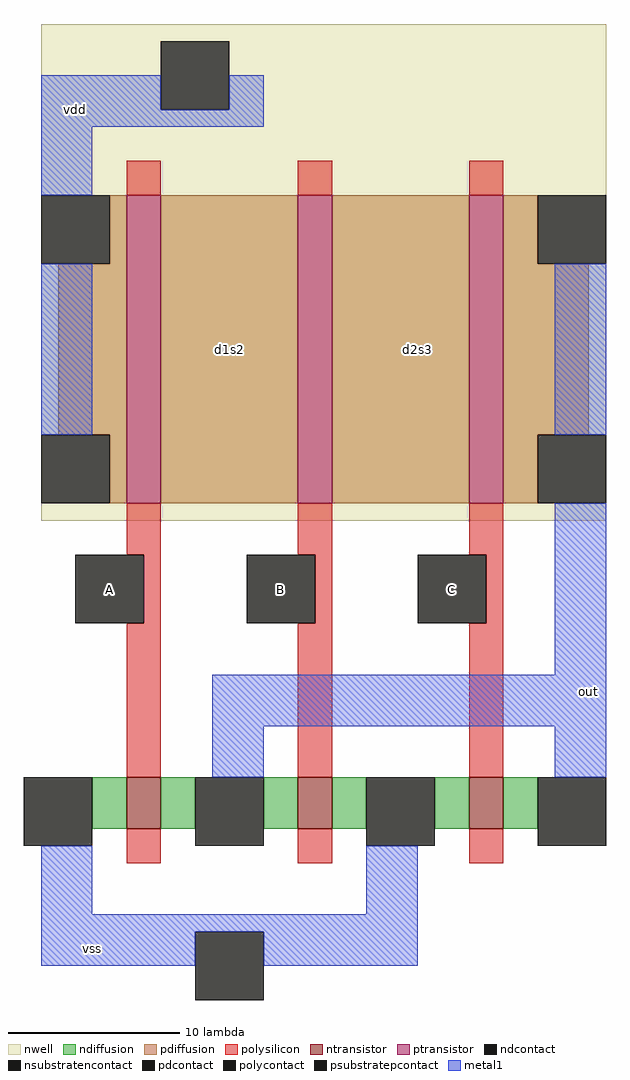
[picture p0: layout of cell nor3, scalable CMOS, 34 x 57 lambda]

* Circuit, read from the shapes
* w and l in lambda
.subckt nor3 A B C d1s2 d2s3 out vdd vss
M1 out A vss vss nfet w=3 l=2
M2 vss B out vss nfet w=3 l=2
M3 out C vss vss nfet w=3 l=2
M4 d1s2 A vdd vdd pfet w=18 l=2
M5 d2s3 B d1s2 vdd pfet w=18 l=2
M6 out C d2s3 vdd pfet w=18 l=2
.ends

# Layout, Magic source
magic
tech scmos
<< nwell >>
rect -17 -1 16 28
<< polysilicon >>
rect -12 18 -10 20
rect -2 18 0 20
rect 8 18 10 20
rect -12 -3 -10 0
rect -2 -3 0 0
rect 8 -3 10 0
rect -11 -7 -10 -3
rect -1 -7 0 -3
rect 9 -7 10 -3
rect -12 -16 -10 -7
rect -2 -16 0 -7
rect 8 -16 10 -7
rect -12 -21 -10 -19
rect -2 -21 0 -19
rect 8 -21 10 -19
<< ndiffusion >>
rect -14 -19 -12 -16
rect -10 -19 -8 -16
rect -4 -19 -2 -16
rect 0 -19 2 -16
rect 6 -19 8 -16
rect 10 -19 12 -16
<< pdiffusion >>
rect -13 14 -12 18
rect -16 4 -12 14
rect -13 0 -12 4
rect -10 0 -2 18
rect 0 0 8 18
rect 10 14 12 18
rect 10 4 15 14
rect 10 0 12 4
<< metal1 >>
rect -17 23 -10 25
rect -6 23 -4 25
rect -17 22 -4 23
rect -17 18 -14 22
rect -17 4 -14 14
rect 13 4 16 14
rect 13 -10 16 0
rect -7 -13 16 -10
rect -7 -16 -4 -13
rect 13 -16 16 -13
rect -17 -24 -14 -20
rect 2 -24 5 -20
rect -17 -25 5 -24
rect -17 -27 -8 -25
rect -4 -27 5 -25
<< ntransistor >>
rect -12 -19 -10 -16
rect -2 -19 0 -16
rect 8 -19 10 -16
<< ptransistor >>
rect -12 0 -10 18
rect -2 0 0 18
rect 8 0 10 18
<< polycontact >>
rect -15 -7 -11 -3
rect -5 -7 -1 -3
rect 5 -7 9 -3
<< ndcontact >>
rect -18 -20 -14 -16
rect -8 -20 -4 -16
rect 2 -20 6 -16
rect 12 -20 16 -16
<< pdcontact >>
rect -17 14 -13 18
rect -17 0 -13 4
rect 12 14 16 18
rect 12 0 16 4
<< psubstratepcontact >>
rect -8 -29 -4 -25
<< nsubstratencontact >>
rect -10 23 -6 27
<< labels >>
rlabel metal1 -15 23 -15 23 1 vdd
rlabel pdiffusion -6 9 -6 9 1 d1s2
rlabel pdiffusion 5 9 5 9 1 d2s3
rlabel polycontact -13 -5 -13 -5 1 A
rlabel polycontact -3 -5 -3 -5 1 B
rlabel polycontact 7 -5 7 -5 1 C
rlabel metal1 -14 -26 -14 -26 1 vss
rlabel metal1 15 -11 15 -11 1 out
<< end >>
